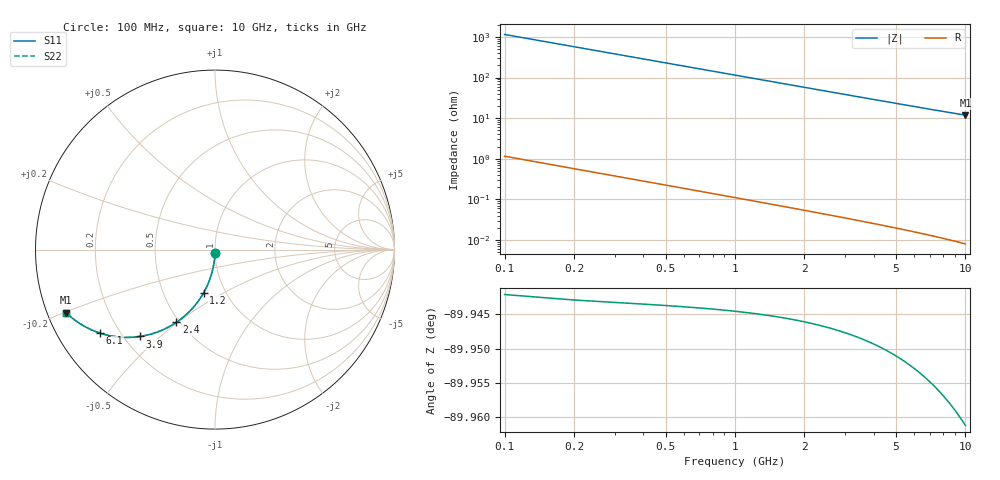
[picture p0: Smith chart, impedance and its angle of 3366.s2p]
# Hz S RI R 50.00
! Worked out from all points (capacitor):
!   100 points, 100 MHz to 10 GHz, reference 50 ohm
!   read as one part in shunt: C = 1.39 pF near 100 MHz
!   lowest |Z| = 11.9 ohm at 10 GHz (marker M1)
!   S11 on the Smith chart (normalised r, x): 100 MHz: 1.00, -0.04; 1.2 GHz: 0.79, -0.41; 2.4 GHz: 0.48, -0.49; 3.9 GHz: 0.26, -0.43; 6.1 GHz: 0.13, -0.32; 10 GHz: 0.05, -0.20
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1e8  -0.000337 -0.0215  0.9993 -0.022  0.9993 -0.022  -0.000337 -0.0215
2e8  -0.00178 -0.043  0.9979 -0.0439  0.9979 -0.0439  -0.00178 -0.043
3e8  -0.00415 -0.0643  0.9955 -0.0657  0.9955 -0.0657  -0.00415 -0.0643
4e8  -0.00745 -0.0855  0.9922 -0.0873  0.9922 -0.0873  -0.00745 -0.0855
5e8  -0.0117 -0.1064  0.988 -0.1087  0.988 -0.1087  -0.0117 -0.1064
6e8  -0.0167 -0.127  0.9829 -0.1298  0.9829 -0.1298  -0.0167 -0.127
7e8  -0.0227 -0.1473  0.977 -0.1505  0.977 -0.1505  -0.0227 -0.1473
9e8  -0.037 -0.1866  0.9627 -0.1907  0.9627 -0.1907  -0.037 -0.1866
1.2e9  -0.0639 -0.2417  0.9357 -0.2472  0.9357 -0.2472  -0.0639 -0.2417
1.5e9  -0.0965 -0.2916  0.9032 -0.2984  0.9032 -0.2984  -0.0965 -0.2916
1.8e9  -0.1333 -0.3355  0.8664 -0.3437  0.8664 -0.3437  -0.1333 -0.3355
2.1e9  -0.1731 -0.3732  0.8265 -0.3828  0.8265 -0.3828  -0.1731 -0.3732
2.4e9  -0.2148 -0.4048  0.7848 -0.4158  0.7848 -0.4158  -0.2148 -0.4048
2.9e9  -0.2855 -0.4446  0.7141 -0.4578  0.7141 -0.4578  -0.2855 -0.4446
3.4e9  -0.3547 -0.4702  0.6449 -0.4857  0.6449 -0.4857  -0.3547 -0.4702
3.9e9  -0.4199 -0.4842  0.5796 -0.502  0.5796 -0.502  -0.4199 -0.4842
5.1e9  -0.5538 -0.4849  0.4456 -0.5082  0.4456 -0.5082  -0.5538 -0.4849
6.1e9  -0.6404 -0.4652  0.3589 -0.4933  0.3589 -0.4933  -0.6404 -0.4652
6.7e9  -0.6828 -0.4493  0.3164 -0.4801  0.3164 -0.4801  -0.6828 -0.4493
7.5e9  -0.7301 -0.4258  0.2689 -0.4604  0.2689 -0.4604  -0.7301 -0.4258
8.4e9  -0.773 -0.3985  0.2259 -0.4374  0.2259 -0.4374  -0.773 -0.3985
1e10  -0.8294 -0.3516  0.1691 -0.3983  0.1691 -0.3983  -0.8294 -0.3516
